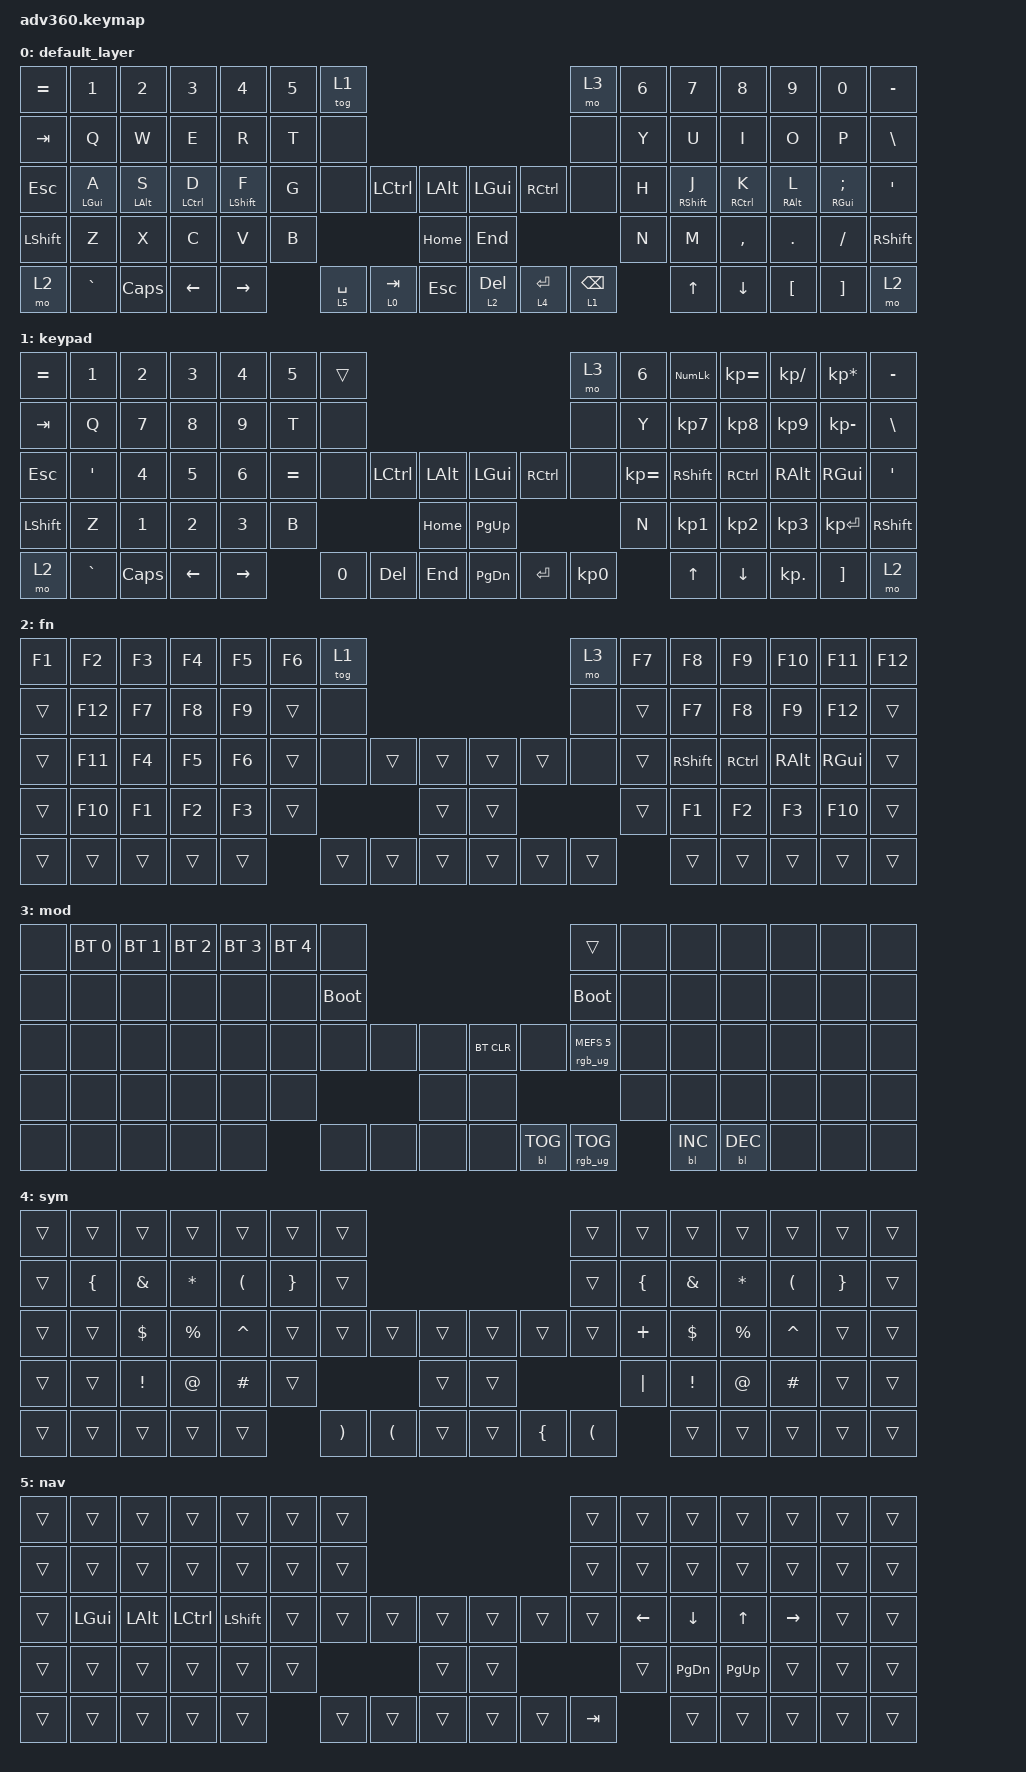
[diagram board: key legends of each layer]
#include <behaviors.dtsi>
#include <dt-bindings/zmk/backlight.h>
#include <dt-bindings/zmk/bt.h>
#include <dt-bindings/zmk/keys.h>
#include <dt-bindings/zmk/rgb.h>

/ {
    behaviors {
        #include "macros.dtsi"

        hm: homerow_mods {
            compatible = "zmk,behavior-hold-tap";
            label = "HOMEROW_MODS";
            #binding-cells = <2>;
            tapping-term-ms = <150>;
            quick_tap_ms = <175>;
            flavor = "tap-preferred";
            bindings = <&kp>, <&kp>;
        };
    };

    keymap {
        compatible = "zmk,keymap";

        default_layer {
            bindings = <
&kp EQUAL  &kp N1          &kp N2          &kp N3              &kp N4            &kp N5  &tog 1                                                          &mo 3            &kp N6  &kp N7             &kp N8               &kp N9           &kp N0                   &kp MINUS
&kp TAB    &kp Q           &kp W           &kp E               &kp R             &kp T   &none                                                           &none            &kp Y   &kp U              &kp I                &kp O            &kp P                    &kp BSLH
&kp ESC    &hm LEFT_GUI A  &hm LEFT_ALT S  &hm LEFT_CONTROL D  &hm LEFT_SHIFT F  &kp G   &none        &kp LCTRL  &kp LALT        &kp LGUI   &kp RCTRL    &none            &kp H   &hm RIGHT_SHIFT J  &hm RIGHT_CONTROL K  &hm RIGHT_ALT L  &hm RIGHT_GUI SEMICOLON  &kp SQT
&kp LSHFT  &kp Z           &kp X           &kp C               &kp V             &kp B                           &kp HOME        &kp END                                  &kp N   &kp M              &kp COMMA            &kp DOT          &kp FSLH                 &kp RSHFT
&mo 2      &kp GRAVE       &kp CAPS        &kp LEFT            &kp RIGHT                 &lt 5 SPACE  &lt 0 TAB  &kp ESCAPE      &lt 2 DEL  &lt 4 ENTER  &lt 1 BACKSPACE          &kp UP             &kp DOWN             &kp LBKT         &kp RBKT                 &mo 2
            >;
        };

        keypad {
            bindings = <
&kp EQUAL  &kp N1            &kp N2    &kp N3    &kp N4     &kp N5     &trans                                                 &mo 3      &kp N6        &kp KP_NUM       &kp KP_EQUAL       &kp KP_DIVIDE  &kp KP_MULTIPLY  &kp MINUS
&kp TAB    &kp Q             &kp N7    &kp N8    &kp N9     &kp T      &none                                                  &none      &kp Y         &kp KP_N7        &kp KP_N8          &kp KP_N9      &kp KP_MINUS     &kp BSLH
&kp ESC    &kp SINGLE_QUOTE  &kp N4    &kp N5    &kp N6     &kp EQUAL  &none   &kp LCTRL  &kp LALT      &kp LGUI   &kp RCTRL  &none      &kp KP_EQUAL  &kp RIGHT_SHIFT  &kp RIGHT_CONTROL  &kp RIGHT_ALT  &kp RIGHT_GUI    &kp SQT
&kp LSHFT  &kp Z             &kp N1    &kp N2    &kp N3     &kp B                         &kp HOME      &kp PG_UP                        &kp N         &kp KP_N1        &kp KP_N2          &kp KP_N3      &kp KP_ENTER     &kp RSHFT
&mo 2      &kp GRAVE         &kp CAPS  &kp LEFT  &kp RIGHT             &kp N0  &kp DEL    &kp END       &kp PG_DN  &kp ENTER  &kp KP_N0                &kp UP           &kp DOWN           &kp KP_DOT     &kp RBKT         &mo 2
            >;
        };

        fn {
            bindings = <
&kp F1  &kp F2   &kp F3  &kp F4  &kp F5  &kp F6  &tog 1                                      &mo 3   &kp F7  &kp F8           &kp F9             &kp F10        &kp F11   &kp F12
&trans  &kp F12  &kp F7  &kp F8  &kp F9  &trans  &none                                       &none   &trans  &kp F7           &kp F8             &kp F9         &kp F12   &trans
&trans  &kp F11  &kp F4  &kp F5  &kp F6  &trans  &none   &trans  &trans      &trans  &trans  &none   &trans  &kp RIGHT_SHIFT  &kp RIGHT_CONTROL  &kp RIGHT_ALT  &kp RGUI  &trans
&trans  &kp F10  &kp F1  &kp F2  &kp F3  &trans                  &trans      &trans                  &trans  &kp F1           &kp F2             &kp F3         &kp F10   &trans
&trans  &trans   &trans  &trans  &trans          &trans  &trans  &trans      &trans  &trans  &trans          &trans           &trans             &trans         &trans    &trans
            >;
        };

        mod {
            bindings = <
&none  &bt BT_SEL 0  &bt BT_SEL 1  &bt BT_SEL 2  &bt BT_SEL 3  &bt BT_SEL 4  &none                                                  &trans                  &none  &none       &none       &none  &none  &none
&none  &none         &none         &none         &none         &none         &bootloader                                            &bootloader             &none  &none       &none       &none  &none  &none
&none  &none         &none         &none         &none         &none         &none        &none  &none      &bt BT_CLR  &none       &rgb_ug RGB_MEFS_CMD 5  &none  &none       &none       &none  &none  &none
&none  &none         &none         &none         &none         &none                             &none      &none                                           &none  &none       &none       &none  &none  &none
&none  &none         &none         &none         &none                       &none        &none  &none      &none       &bl BL_TOG  &rgb_ug RGB_TOG                &bl BL_INC  &bl BL_DEC  &none  &none  &none
            >;
        };

        sym {
            bindings = <
&trans  &trans          &trans           &trans        &trans                &trans           &trans                                                                           &trans                &trans          &trans           &trans        &trans                &trans           &trans
&trans  &kp LEFT_BRACE  &kp AMPERSAND    &kp ASTERISK  &kp LEFT_PARENTHESIS  &kp RIGHT_BRACE  &trans                                                                           &trans                &kp LEFT_BRACE  &kp AMPERSAND    &kp ASTERISK  &kp LEFT_PARENTHESIS  &kp RIGHT_BRACE  &trans
&trans  &trans          &kp DOLLAR       &kp PERCENT   &kp CARET             &trans           &trans                 &trans                &trans      &trans  &trans          &trans                &kp PLUS        &kp DOLLAR       &kp PERCENT   &kp CARET             &trans           &trans
&trans  &trans          &kp EXCLAMATION  &kp AT_SIGN   &kp HASH              &trans                                                        &trans      &trans                                        &kp PIPE        &kp EXCLAMATION  &kp AT_SIGN   &kp HASH              &trans           &trans
&trans  &trans          &trans           &trans        &trans                                 &kp RIGHT_PARENTHESIS  &kp LEFT_PARENTHESIS  &trans      &trans  &kp LEFT_BRACE  &kp LEFT_PARENTHESIS                  &trans           &trans        &trans                &trans           &trans
            >;
        };

        nav {
            bindings = <
&trans  &trans    &trans        &trans            &trans          &trans  &trans                                      &trans   &trans          &trans          &trans        &trans           &trans  &trans
&trans  &trans    &trans        &trans            &trans          &trans  &trans                                      &trans   &trans          &trans          &trans        &trans           &trans  &trans
&trans  &kp LGUI  &kp LEFT_ALT  &kp LEFT_CONTROL  &kp LEFT_SHIFT  &trans  &trans  &trans  &trans      &trans  &trans  &trans   &kp LEFT_ARROW  &kp DOWN_ARROW  &kp UP_ARROW  &kp RIGHT_ARROW  &trans  &trans
&trans  &trans    &trans        &trans            &trans          &trans                  &trans      &trans                   &trans          &kp PAGE_DOWN   &kp PAGE_UP   &trans           &trans  &trans
&trans  &trans    &trans        &trans            &trans                  &trans  &trans  &trans      &trans  &trans  &kp TAB                  &trans          &trans        &trans           &trans  &trans
            >;
        };
    };
};
